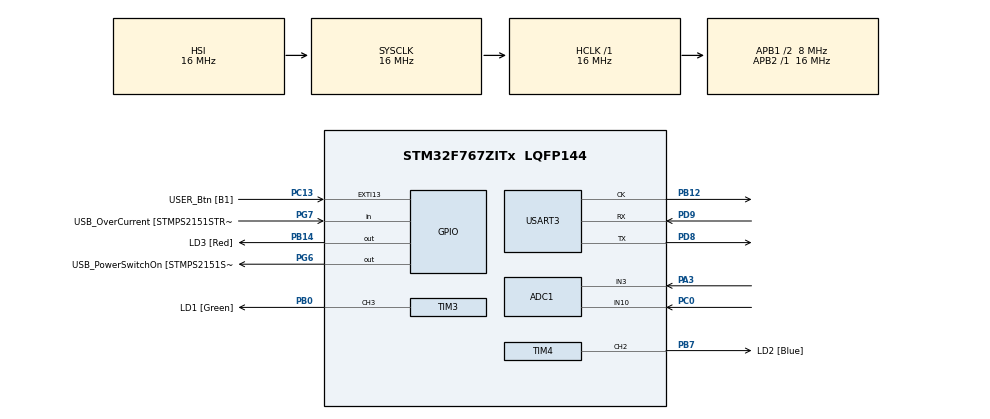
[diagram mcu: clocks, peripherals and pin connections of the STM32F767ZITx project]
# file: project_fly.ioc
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ADC1.Channel-1\#ChannelRegularConversion=ADC_CHANNEL_3
ADC1.Channel-2\#ChannelRegularConversion=ADC_CHANNEL_10
ADC1.ContinuousConvMode=DISABLE
ADC1.DMAContinuousRequests=ENABLE
ADC1.DiscontinuousConvMode=DISABLE
ADC1.NbrOfConversion=2
ADC1.NbrOfConversionFlag=1
ADC1.Rank-1\#ChannelRegularConversion=1
ADC1.Rank-2\#ChannelRegularConversion=2
ADC1.SamplingTime-1\#ChannelRegularConversion=ADC_SAMPLETIME_56CYCLES
ADC1.SamplingTime-2\#ChannelRegularConversion=ADC_SAMPLETIME_56CYCLES
ADC1.ScanConvMode=ADC_SCAN_ENABLE
ADC1.master=1
Dma.ADC1.0.Direction=DMA_PERIPH_TO_MEMORY
Dma.ADC1.0.FIFOMode=DMA_FIFOMODE_DISABLE
Dma.ADC1.0.Instance=DMA2_Stream0
Dma.ADC1.0.MemDataAlignment=DMA_MDATAALIGN_WORD
Dma.ADC1.0.MemInc=DMA_MINC_ENABLE
Dma.ADC1.0.Mode=DMA_NORMAL
Dma.ADC1.0.PeriphDataAlignment=DMA_PDATAALIGN_WORD
Dma.ADC1.0.PeriphInc=DMA_PINC_DISABLE
Dma.ADC1.0.Priority=DMA_PRIORITY_LOW
Dma.Request0=ADC1
FREERTOS.Tasks01=defaultTask,24,128,StartDefaultTask,Default,NULL,Dynamic,NULL,NULL;AdcTask,16,128,AdcRead,Default,NULL,Dynamic,NULL,NULL
FREERTOS.configUSE_NEWLIB_REENTRANT=1
Mcu.Family=STM32F7
Mcu.Name=STM32F767ZITx
Mcu.Package=LQFP144
NVIC.DMA2_Stream0_IRQn=true\:5\:0\:false\:false\:true\:true\:false\:true\:true
NVIC.PriorityGroup=NVIC_PRIORITYGROUP_4
NVIC.TIM8_TRG_COM_TIM14_IRQn=true\:15\:0\:false\:false\:true\:false\:false\:true\:true
NVIC.TimeBase=TIM8_TRG_COM_TIM14_IRQn
NVIC.TimeBaseIP=TIM14
PA10.GPIO_Label=USB_ID
PA10.Signal=USB_OTG_FS_ID
PA11.GPIO_Label=USB_DM
PA11.Signal=USB_OTG_FS_DM
PA12.GPIO_Label=USB_DP
PA12.Signal=USB_OTG_FS_DP
PA13.GPIO_Label=TMS
PA13.Signal=SYS_JTMS-SWDIO
PA14.GPIO_Label=TCK
PA14.Signal=SYS_JTCK-SWCLK
PA3.Signal=ADCx_IN3
PA8.GPIO_Label=USB_SOF [TP1]
PA8.Signal=USB_OTG_FS_SOF
PA9.GPIO_Label=USB_VBUS
PA9.Signal=USB_OTG_FS_VBUS
PB0.GPIO_Label=LD1 [Green]
PB0.Signal=S_TIM3_CH3
PB12.Mode=Synchronous
PB12.Signal=USART3_CK
PB14.GPIO_Label=LD3 [Red]
PB14.Signal=GPIO_Output
PB7.GPIO_Label=LD2 [Blue]
PB7.Signal=S_TIM4_CH2
PC0.Signal=ADCx_IN10
PC13.GPIO_Label=USER_Btn [B1]
PC13.Signal=GPXTI13
PD8.Mode=Synchronous
PD8.Signal=USART3_TX
PD9.Mode=Synchronous
PD9.Signal=USART3_RX
PG6.GPIO_Label=USB_PowerSwitchOn [STMPS2151STR_EN]
PG6.Signal=GPIO_Output
PG7.GPIO_Label=USB_OverCurrent [STMPS2151STR_FAULT]
PG7.Signal=GPIO_Input
ProjectManager.HeapSize=0x200
ProjectManager.StackSize=0x400
ProjectManager.TargetToolchain=STM32CubeIDE
RCC.48MHZClocksFreq_Value=24000000
RCC.AHBFreq_Value=16000000
RCC.APB1CLKDivider=RCC_HCLK_DIV2
RCC.APB1Freq_Value=8000000
RCC.APB1TimFreq_Value=16000000
RCC.APB2Freq_Value=16000000
RCC.APB2TimFreq_Value=16000000
RCC.CortexFreq_Value=16000000
RCC.HCLKFreq_Value=16000000
RCC.HSE_VALUE=16000000
RCC.HSI_VALUE=16000000
RCC.LSE_VALUE=32768
RCC.PLLMUL=RCC_PLL_MUL9
RCC.PRESCALERUSB=RCC_USBCLKSOURCE_PLL_DIV1_5
RCC.SYSCLKFreq_VALUE=16000000
RCC.SYSCLKSourceVirtual=RCC_SYSCLKSOURCE_PLLCLK
RCC.USBFreq_Value=96000000
RCC.VCOOutputFreq_Value=192000000
SH.ADCx_IN10.0=ADC1_IN10,IN10
SH.ADCx_IN3.0=ADC1_IN3,IN3
SH.S_TIM3_CH3.0=TIM3_CH3,PWM Generation3 CH3
SH.S_TIM4_CH2.0=TIM4_CH2,PWM Generation2 CH2
TIM3.Channel-PWM\ Generation3\ CH3=TIM_CHANNEL_3
TIM3.Period=9999
TIM3.Prescaler=0
TIM4.Channel-PWM\ Generation2\ CH2=TIM_CHANNEL_2
TIM4.Period=9999
USART3.VirtualMode-Synchronous=VM_SYNC
VP_FREERTOS_VS_CMSIS_V2.Mode=CMSIS_V2
VP_SYS_VS_tim14.Mode=TIM14
VP_TIM3_VS_ClockSourceINT.Mode=Internal
board=NUCLEO-F767ZI

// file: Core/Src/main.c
/* USER CODE BEGIN Header */
/**
  ******************************************************************************
  * @file           : main.c
  * @brief          : Main program body
  ******************************************************************************
  * @attention
  *
  * Copyright (c) 2025 STMicroelectronics.
  * All rights reserved.
  *
  * This software is licensed under terms that can be found in the LICENSE file
  * in the root directory of this software component.
  * If no LICENSE file comes with this software, it is provided AS-IS.
  *
  ******************************************************************************
  */
/* USER CODE END Header */
#include "main.h"
#include "cmsis_os.h"

/* USER CODE BEGIN Includes */
#include <stdio.h>
#include <math.h>

/* USER CODE END Includes */

/* USER CODE BEGIN PD */
/// Max value ADC can output and its voltage
#define ADC_MAX_VALUE 4095
#define ADC_MAX_VOLTAGE 3.3
/// Number of measurements to store for averaging
#define ADC_WINDOW_SIZE 128
/// Number of sensor lines
#define SENSOR_LINES 2

/* USER CODE END PD */

ADC_HandleTypeDef hadc1;
DMA_HandleTypeDef hdma_adc1;

TIM_HandleTypeDef htim3;
TIM_HandleTypeDef htim4;

USART_HandleTypeDef husart3;

/* Definitions for defaultTask */
osThreadId_t defaultTaskHandle;
const osThreadAttr_t defaultTask_attributes = {
  .name = "defaultTask",
  .stack_size = 128 * 4,
  .priority = (osPriority_t) osPriorityNormal,
};
/* Definitions for AdcTask */
osThreadId_t AdcTaskHandle;
const osThreadAttr_t AdcTask_attributes = {
  .name = "AdcTask",
  .stack_size = 128 * 4,
  .priority = (osPriority_t) osPriorityBelowNormal,
};
/* USER CODE BEGIN PV */

/* Configs */
/// Number of sensors in each line
const int lineLength[SENSOR_LINES] = { 6, 6 };
/// Rescale each line to this boundaries
const float sens_boundaries[SENSOR_LINES][2] = {
    {0., 900.},
	{100., 1000.}
};
/// Max boundary value
const float sens_max = 1000.;

/// Buffer for printing
char buff[512];
/// ADC measurements go here
uint32_t adcData[SENSOR_LINES];
/// Window of last n measurements
uint32_t adcBuffer[SENSOR_LINES][ADC_WINDOW_SIZE] = {0};
/// Sum of last n measurements
uint64_t adcSum[SENSOR_LINES] = {0};

/* USER CODE END PV */

void SystemClock_Config(void);
static void MX_GPIO_Init(void);
static void MX_DMA_Init(void);
static void MX_TIM3_Init(void);
static void MX_TIM4_Init(void);
static void MX_ADC1_Init(void);
static void MX_USART3_Init(void);
void StartDefaultTask(void *argument);
void AdcRead(void *argument);

/* USER CODE BEGIN PFP */
void comprint(char *, int);
void setPWM(uint16_t, TIM_HandleTypeDef *, uint16_t);
void printMeasurements();

/* USER CODE END PFP */

int main(void)
{

  /* MCU Configuration--------------------------------------------------------*/

  /* Reset of all peripherals, Initializes the Flash interface and the Systick. */
  HAL_Init();

  /* Configure the system clock */
  SystemClock_Config();

  /* Initialize all configured peripherals */
  MX_GPIO_Init();
  MX_DMA_Init();
  MX_TIM3_Init();
  MX_TIM4_Init();
  MX_ADC1_Init();
  MX_USART3_Init();
  /* USER CODE BEGIN 2 */
  // blue LED brightness
  setPWM(1000, &htim4, TIM_CHANNEL_2);

  char buf[512];
  // clear COM port terminal
  comprint(buf, sprintf(buf, "\033[1J"));

  /* USER CODE END 2 */

  /* Init scheduler */
  osKernelInitialize();

  /* Create the thread(s) */
  /* creation of defaultTask */
  defaultTaskHandle = osThreadNew(StartDefaultTask, NULL, &defaultTask_attributes);

  /* creation of AdcTask */
  AdcTaskHandle = osThreadNew(AdcRead, NULL, &AdcTask_attributes);

  /* Start scheduler */
  osKernelStart();

  /* We should never get here as control is now taken by the scheduler */

  /* Infinite loop */
  for (;;) {

  }
}

void SystemClock_Config(void)
{
  RCC_OscInitTypeDef RCC_OscInitStruct = {0};
  RCC_ClkInitTypeDef RCC_ClkInitStruct = {0};

  /** Configure the main internal regulator output voltage
  */
  __HAL_RCC_PWR_CLK_ENABLE();
  __HAL_PWR_VOLTAGESCALING_CONFIG(PWR_REGULATOR_VOLTAGE_SCALE3);

  /** Initializes the RCC Oscillators according to the specified parameters
  * in the RCC_OscInitTypeDef structure.
  */
  RCC_OscInitStruct.OscillatorType = RCC_OSCILLATORTYPE_HSI;
  RCC_OscInitStruct.HSIState = RCC_HSI_ON;
  RCC_OscInitStruct.HSICalibrationValue = RCC_HSICALIBRATION_DEFAULT;
  RCC_OscInitStruct.PLL.PLLState = RCC_PLL_NONE;
  if (HAL_RCC_OscConfig(&RCC_OscInitStruct) != HAL_OK)
  {
    Error_Handler();
  }

  /** Initializes the CPU, AHB and APB buses clocks
  */
  RCC_ClkInitStruct.ClockType = RCC_CLOCKTYPE_HCLK|RCC_CLOCKTYPE_SYSCLK
                              |RCC_CLOCKTYPE_PCLK1|RCC_CLOCKTYPE_PCLK2;
  RCC_ClkInitStruct.SYSCLKSource = RCC_SYSCLKSOURCE_HSI;
  RCC_ClkInitStruct.AHBCLKDivider = RCC_SYSCLK_DIV1;
  RCC_ClkInitStruct.APB1CLKDivider = RCC_HCLK_DIV2;
  RCC_ClkInitStruct.APB2CLKDivider = RCC_HCLK_DIV1;

  if (HAL_RCC_ClockConfig(&RCC_ClkInitStruct, FLASH_LATENCY_0) != HAL_OK)
  {
    Error_Handler();
  }
}

static void MX_ADC1_Init(void)
{

  ADC_ChannelConfTypeDef sConfig = {0};

  /** Configure the global features of the ADC (Clock, Resolution, Data Alignment and number of conversion)
  */
  hadc1.Instance = ADC1;
  hadc1.Init.ClockPrescaler = ADC_CLOCK_SYNC_PCLK_DIV2;
  hadc1.Init.Resolution = ADC_RESOLUTION_12B;
  hadc1.Init.ScanConvMode = ADC_SCAN_ENABLE;
  hadc1.Init.ContinuousConvMode = DISABLE;
  hadc1.Init.DiscontinuousConvMode = DISABLE;
  hadc1.Init.ExternalTrigConvEdge = ADC_EXTERNALTRIGCONVEDGE_NONE;
  hadc1.Init.ExternalTrigConv = ADC_SOFTWARE_START;
  hadc1.Init.DataAlign = ADC_DATAALIGN_RIGHT;
  hadc1.Init.NbrOfConversion = 2;
  hadc1.Init.DMAContinuousRequests = ENABLE;
  hadc1.Init.EOCSelection = ADC_EOC_SINGLE_CONV;
  if (HAL_ADC_Init(&hadc1) != HAL_OK)
  {
    Error_Handler();
  }

  /** Configure for the selected ADC regular channel its corresponding rank in the sequencer and its sample time.
  */
  sConfig.Channel = ADC_CHANNEL_3;
  sConfig.Rank = ADC_REGULAR_RANK_1;
  sConfig.SamplingTime = ADC_SAMPLETIME_56CYCLES;
  if (HAL_ADC_ConfigChannel(&hadc1, &sConfig) != HAL_OK)
  {
    Error_Handler();
  }

  /** Configure for the selected ADC regular channel its corresponding rank in the sequencer and its sample time.
  */
  sConfig.Channel = ADC_CHANNEL_10;
  sConfig.Rank = ADC_REGULAR_RANK_2;
  if (HAL_ADC_ConfigChannel(&hadc1, &sConfig) != HAL_OK)
  {
    Error_Handler();
  }

}

static void MX_TIM3_Init(void)
{

  TIM_ClockConfigTypeDef sClockSourceConfig = {0};
  TIM_MasterConfigTypeDef sMasterConfig = {0};
  TIM_OC_InitTypeDef sConfigOC = {0};

  htim3.Instance = TIM3;
  htim3.Init.Prescaler = 0;
  htim3.Init.CounterMode = TIM_COUNTERMODE_UP;
  htim3.Init.Period = 9999;
  htim3.Init.ClockDivision = TIM_CLOCKDIVISION_DIV1;
  htim3.Init.AutoReloadPreload = TIM_AUTORELOAD_PRELOAD_DISABLE;
  if (HAL_TIM_Base_Init(&htim3) != HAL_OK)
  {
    Error_Handler();
  }
  sClockSourceConfig.ClockSource = TIM_CLOCKSOURCE_INTERNAL;
  if (HAL_TIM_ConfigClockSource(&htim3, &sClockSourceConfig) != HAL_OK)
  {
    Error_Handler();
  }
  if (HAL_TIM_PWM_Init(&htim3) != HAL_OK)
  {
    Error_Handler();
  }
  sMasterConfig.MasterOutputTrigger = TIM_TRGO_RESET;
  sMasterConfig.MasterSlaveMode = TIM_MASTERSLAVEMODE_DISABLE;
  if (HAL_TIMEx_MasterConfigSynchronization(&htim3, &sMasterConfig) != HAL_OK)
  {
    Error_Handler();
  }
  sConfigOC.OCMode = TIM_OCMODE_PWM1;
  sConfigOC.Pulse = 0;
  sConfigOC.OCPolarity = TIM_OCPOLARITY_HIGH;
  sConfigOC.OCFastMode = TIM_OCFAST_DISABLE;
  if (HAL_TIM_PWM_ConfigChannel(&htim3, &sConfigOC, TIM_CHANNEL_3) != HAL_OK)
  {
    Error_Handler();
  }
  HAL_TIM_MspPostInit(&htim3);

}

static void MX_TIM4_Init(void)
{

  TIM_MasterConfigTypeDef sMasterConfig = {0};
  TIM_OC_InitTypeDef sConfigOC = {0};

  htim4.Instance = TIM4;
  htim4.Init.Prescaler = 0;
  htim4.Init.CounterMode = TIM_COUNTERMODE_UP;
  htim4.Init.Period = 9999;
  htim4.Init.ClockDivision = TIM_CLOCKDIVISION_DIV1;
  htim4.Init.AutoReloadPreload = TIM_AUTORELOAD_PRELOAD_DISABLE;
  if (HAL_TIM_PWM_Init(&htim4) != HAL_OK)
  {
    Error_Handler();
  }
  sMasterConfig.MasterOutputTrigger = TIM_TRGO_RESET;
  sMasterConfig.MasterSlaveMode = TIM_MASTERSLAVEMODE_DISABLE;
  if (HAL_TIMEx_MasterConfigSynchronization(&htim4, &sMasterConfig) != HAL_OK)
  {
    Error_Handler();
  }
  sConfigOC.OCMode = TIM_OCMODE_PWM1;
  sConfigOC.Pulse = 0;
  sConfigOC.OCPolarity = TIM_OCPOLARITY_HIGH;
  sConfigOC.OCFastMode = TIM_OCFAST_DISABLE;
  if (HAL_TIM_PWM_ConfigChannel(&htim4, &sConfigOC, TIM_CHANNEL_2) != HAL_OK)
  {
    Error_Handler();
  }
  HAL_TIM_MspPostInit(&htim4);

}

static void MX_USART3_Init(void)
{

  husart3.Instance = USART3;
  husart3.Init.BaudRate = 115200;
  husart3.Init.WordLength = USART_WORDLENGTH_8B;
  husart3.Init.StopBits = USART_STOPBITS_1;
  husart3.Init.Parity = USART_PARITY_NONE;
  husart3.Init.Mode = USART_MODE_TX_RX;
  husart3.Init.CLKPolarity = USART_POLARITY_LOW;
  husart3.Init.CLKPhase = USART_PHASE_1EDGE;
  husart3.Init.CLKLastBit = USART_LASTBIT_DISABLE;
  if (HAL_USART_Init(&husart3) != HAL_OK)
  {
    Error_Handler();
  }

}

static void MX_DMA_Init(void)
{

  /* DMA controller clock enable */
  __HAL_RCC_DMA2_CLK_ENABLE();

  /* DMA interrupt init */
  /* DMA2_Stream0_IRQn interrupt configuration */
  HAL_NVIC_SetPriority(DMA2_Stream0_IRQn, 5, 0);
  HAL_NVIC_EnableIRQ(DMA2_Stream0_IRQn);

}

static void MX_GPIO_Init(void)
{
  GPIO_InitTypeDef GPIO_InitStruct = {0};

  /* GPIO Ports Clock Enable */
  __HAL_RCC_GPIOC_CLK_ENABLE();
  __HAL_RCC_GPIOA_CLK_ENABLE();
  __HAL_RCC_GPIOB_CLK_ENABLE();
  __HAL_RCC_GPIOD_CLK_ENABLE();
  __HAL_RCC_GPIOG_CLK_ENABLE();

  /*Configure GPIO pin Output Level */
  HAL_GPIO_WritePin(LD3_GPIO_Port, LD3_Pin, GPIO_PIN_RESET);

  /*Configure GPIO pin Output Level */
  HAL_GPIO_WritePin(USB_PowerSwitchOn_GPIO_Port, USB_PowerSwitchOn_Pin, GPIO_PIN_RESET);

  /*Configure GPIO pin : USER_Btn_Pin */
  GPIO_InitStruct.Pin = USER_Btn_Pin;
  GPIO_InitStruct.Mode = GPIO_MODE_IT_RISING;
  GPIO_InitStruct.Pull = GPIO_NOPULL;
  HAL_GPIO_Init(USER_Btn_GPIO_Port, &GPIO_InitStruct);

  /*Configure GPIO pin : LD3_Pin */
  GPIO_InitStruct.Pin = LD3_Pin;
  GPIO_InitStruct.Mode = GPIO_MODE_OUTPUT_PP;
  GPIO_InitStruct.Pull = GPIO_NOPULL;
  GPIO_InitStruct.Speed = GPIO_SPEED_FREQ_LOW;
  HAL_GPIO_Init(LD3_GPIO_Port, &GPIO_InitStruct);

  /*Configure GPIO pin : USB_PowerSwitchOn_Pin */
  GPIO_InitStruct.Pin = USB_PowerSwitchOn_Pin;
  GPIO_InitStruct.Mode = GPIO_MODE_OUTPUT_PP;
  GPIO_InitStruct.Pull = GPIO_NOPULL;
  GPIO_InitStruct.Speed = GPIO_SPEED_FREQ_LOW;
  HAL_GPIO_Init(USB_PowerSwitchOn_GPIO_Port, &GPIO_InitStruct);

  /*Configure GPIO pin : USB_OverCurrent_Pin */
  GPIO_InitStruct.Pin = USB_OverCurrent_Pin;
  GPIO_InitStruct.Mode = GPIO_MODE_INPUT;
  GPIO_InitStruct.Pull = GPIO_NOPULL;
  HAL_GPIO_Init(USB_OverCurrent_GPIO_Port, &GPIO_InitStruct);

  /*Configure GPIO pins : USB_SOF_Pin USB_ID_Pin USB_DM_Pin USB_DP_Pin */
  GPIO_InitStruct.Pin = USB_SOF_Pin|USB_ID_Pin|USB_DM_Pin|USB_DP_Pin;
  GPIO_InitStruct.Mode = GPIO_MODE_AF_PP;
  GPIO_InitStruct.Pull = GPIO_NOPULL;
  GPIO_InitStruct.Speed = GPIO_SPEED_FREQ_VERY_HIGH;
  GPIO_InitStruct.Alternate = GPIO_AF10_OTG_FS;
  HAL_GPIO_Init(GPIOA, &GPIO_InitStruct);

  /*Configure GPIO pin : USB_VBUS_Pin */
  GPIO_InitStruct.Pin = USB_VBUS_Pin;
  GPIO_InitStruct.Mode = GPIO_MODE_INPUT;
  GPIO_InitStruct.Pull = GPIO_NOPULL;
  HAL_GPIO_Init(USB_VBUS_GPIO_Port, &GPIO_InitStruct);

}

/* USER CODE BEGIN 4 */
/**
 * The main loop of the program.
 */
void defaultTask() {
	for (;;) {
		// blink with green LED, dimming it
		setPWM(1000, &htim3, TIM_CHANNEL_3);
		osDelay(250);
		setPWM(10000, &htim3, TIM_CHANNEL_3);
		printMeasurements();
		osDelay(250);
	}
}

/**
 * Print message to the default (ST-Link) serial port.
 *
 * @param msg: Message to be printed
 * @param len: Length of the message
 */
void comprint(char *msg, int len) {
	HAL_USART_Transmit(&husart3, (uint8_t *)msg, len, 100);
}

/**
 * Set pulse time of a timer's channel.
 *
 * @param value: Pulse ticks
 * @param timer: Timer
 * @param channel: Channel
 */
void setPWM(uint16_t value, TIM_HandleTypeDef *timer, uint16_t channel)
{
    TIM_OC_InitTypeDef sConfigOC;

    sConfigOC.OCMode = TIM_OCMODE_PWM1;
    sConfigOC.Pulse = value;
    sConfigOC.OCPolarity = TIM_OCPOLARITY_HIGH;
    sConfigOC.OCFastMode = TIM_OCFAST_DISABLE;
    HAL_TIM_PWM_ConfigChannel(timer, &sConfigOC, channel); // таймер №1, канал №3
    HAL_TIM_PWM_Start(timer, channel);
}

/**
 * Callback on ADC conversion.
 *
 * @param hadc: ADC which invoked the conversion
 */
void HAL_ADC_ConvCpltCallback(ADC_HandleTypeDef *hadc) {
	if (hadc->Instance == ADC1) {
		// index to value in window to overwrite old values with new ones
		static uint16_t window_i = 0;
		for (int i = 0; i < SENSOR_LINES; ++i) {
			adcSum[i] -= adcBuffer[i][window_i];
			adcSum[i] += adcData[i];
			adcBuffer[i][window_i] = adcData[i];
		}
		window_i = (window_i + 1) % ADC_WINDOW_SIZE;
	}
}

/**
 * Convert a raw ADC measurement to real voltage.
 *
 * @param adc: Raw ADC measurement
 * @return Voltage
 */
double adcToVolts(uint32_t adc) {
	return adc / (double) ADC_MAX_VALUE * ADC_MAX_VOLTAGE;
}

/**
 * Convert voltage to index number of a triggered reed sensor.
 *
 * @param v: Voltage
 * @param N: Total number of sensors in the line
 * @return Index number of a triggered reed sensor in range [1, N]
 */
int voltToLineNumber(double v, int N) {
	const long double V_S = ADC_MAX_VOLTAGE;
	const long double R = 7440.L;
	const long double R_G = 98600.L;

	long double a = - v / V_S * R * R;
	long double b = R * R_G + v / V_S * (R*R * N + R*R);
	long double c = - R * R_G * N - R * R_G + v / V_S * (R * R_G * N + R * R_G);

	long double D = b * b - 4 * a * c;

	long double x1 = (sqrtl(D) - b) / a / 2.L;
	int n = N + 1 - ((x1 == x1) ? ((int) roundl(x1)) : 7);
	return n;
}

/**
 * Calculates measurements of each sensor line.
 * If no line is triggered now, the last measurement is used.
 *
 * @param[out] measurements: Measurements of each line
 * @param[out] voltages: Voltages on each line
 * @return Whether the sensor is triggered
 */
short getLineMeasurements(int *measurements, double *voltages) {
	static int prev[SENSOR_LINES] = { 0 };

	int active[SENSOR_LINES];
	short trig = 0;
	for (int i = 0; i < SENSOR_LINES; ++i) {
		voltages[i] = adcToVolts(adcSum[i] / (double) ADC_WINDOW_SIZE);
		active[i] = voltToLineNumber(voltages[i], lineLength[i]);
		if (active[i]) trig = 1;
	}
	for (int i = 0; i < SENSOR_LINES; ++i) {
		measurements[i] = trig ? active[i] : prev[i];
		if (trig) prev[i] = active[i];
	}
	return trig;
}

/**
 * Pretty-print current measurement state of water level into the serial port.
 */
void printMeasurements() {
	static const int BAR_LENGTH = 40;
	static const char FILL_SIGN[] = "##################################################################";
	static const char EMPTY_SIGN[] = "------------------------------------------------------------------";

	double volts[SENSOR_LINES];
	int activeN[SENSOR_LINES];
	getLineMeasurements(activeN, volts);
	int scaledC = 0;
	double scaled;
	comprint(buff, sprintf(buff, "\033[J\033[H"));
	for (int i = 0; i < SENSOR_LINES; ++i) {
		if (activeN[i]) {
			++scaledC;
			float dbound = sens_boundaries[i][1] - sens_boundaries[i][0];
			scaled += activeN[i] * dbound / (float) lineLength[i] + sens_boundaries[i][0];
		}
		comprint(buff, sprintf(
				buff,
				"Line %d: \033[1m%1d\033[m (\033[1m%1.1f\033[m/%1.1f)\033[K\r\n",
				i + 1,
				activeN[i],
				volts[i],
				ADC_MAX_VOLTAGE
		));
	}
	scaled = (scaledC == 0) ? 0 : (scaled / scaledC);
	comprint(buff, sprintf(buff, "Water level: %4.f/%.f\r\n", scaled, sens_max));
	int line_fill = (scaledC == 0) ? 0 : ((int) (scaled * BAR_LENGTH / sens_max));
	comprint(buff, sprintf(buff, "[%.*s%.*s]\r\n", line_fill, FILL_SIGN, (BAR_LENGTH - line_fill), EMPTY_SIGN));
}

/* USER CODE END 4 */

void StartDefaultTask(void *argument)
{
  /* USER CODE BEGIN 5 */
  /* Infinite loop */
  defaultTask();

  /* USER CODE END 5 */
}

void AdcRead(void *argument)
{
  /* USER CODE BEGIN AdcRead */
  /* Infinite loop */
  for(;;)
  {
	HAL_ADC_Start_DMA(&hadc1, adcData, SENSOR_LINES);
	// osDelay(1);
  }
  /* USER CODE END AdcRead */
}

void HAL_TIM_PeriodElapsedCallback(TIM_HandleTypeDef *htim)
{
  if (htim->Instance == TIM14)
  {
    HAL_IncTick();
  }
}

void Error_Handler(void)
{
  __disable_irq();
  while (1)
  {
  }
}
